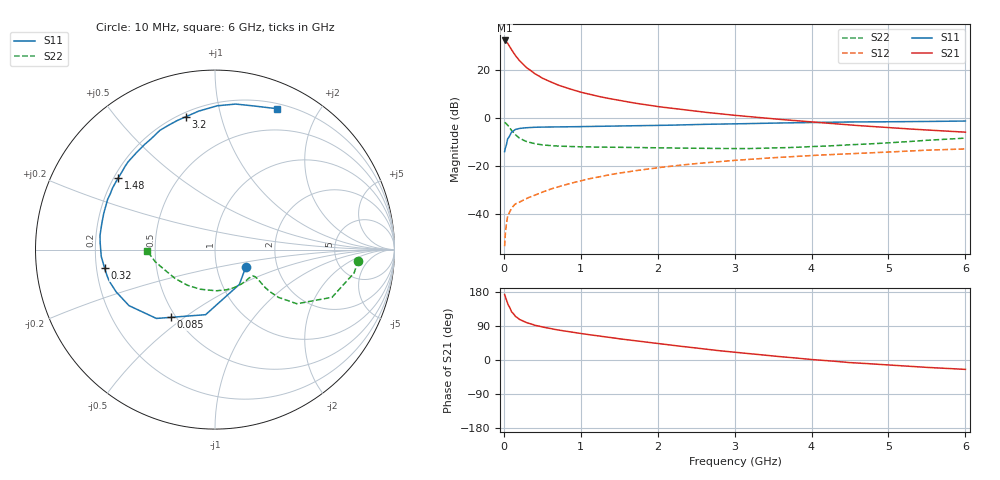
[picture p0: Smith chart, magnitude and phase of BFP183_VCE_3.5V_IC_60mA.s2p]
! (c) 2016  Infineon Technologies AG, Munich
! Infineon Technologies  Discrete & RF Semiconductors
! BFP183
! VCE = 3.5 V,  IC =  60 mA
! Common Emitter S-Parameters:  Jan 2016
# GHz  S  MA  R  50
!  f  S11  S21  S12  S22
! GHz  MAG  ANG  MAG  ANG  MAG  ANG  MAG  ANG
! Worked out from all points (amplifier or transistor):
!   210 points, 10 MHz to 6 GHz, reference 50 ohm
!   highest |S21| = 32.3 dB at 10 MHz (marker M1)
!   |S21| within 3 dB of that: start of sweep to 82.9 MHz
!   unconditionally stable (mu >= 1): start of sweep to 26.2 MHz; 241.1 MHz to end of sweep
!   at 185 MHz: K = 0.87, MSG = 30.0 dB, |S12| = -35.4 dB
!   at 1.52 GHz: K = 1.53, MAG = 10.8 dB, |S12| = -23.0 dB
!   at 6 GHz: K = 1.15, MAG = 1.2 dB, |S12| = -13.0 dB
!   S11 on the Smith chart (normalised r, x): 10 MHz: 1.38, -0.28; 85 MHz: 0.47, -0.45; 320 MHz: 0.23, -0.08; 1.48 GHz: 0.22, +0.31; 3.2 GHz: 0.22, +0.78; 6 GHz: 0.25, +1.50
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0.01  0.1975 -30.2  41.1 172.9  0.0021 65.4  0.8002 -4.4
0.02  0.2368 -55.0  40.41 166.3  0.0038 69.1  0.7861 -9.5
0.05  0.3663 -98.2  35.79 147.7  0.0088 65.5  0.704 -22.2
0.085  0.4494 -122.9  28.72 134.8  0.0117 54.4  0.591 -29.5
0.1  0.5037 -130.4  26.31 127.3  0.013 51.2  0.5463 -33.5
0.15  0.5719 -146.9  19.96 115.2  0.016 48.7  0.4442 -36.9
0.2  0.5991 -156.9  15.8 107.5  0.0173 49.1  0.3807 -37.6
0.26  0.6167 -164.7  12.59 101.5  0.0194 49.9  0.338 -36.7
0.3  0.622 -168.9  11 98.2  0.0209 51.9  0.3175 -35.8
0.32  0.6237 -170.4  10.47 97.2  0.0216 52.7  0.3116 -35.6
0.4  0.6348 -176.5  8.382 91.8  0.0242 55.5  0.2881 -34.5
0.5  0.6404 177.4  6.735 87.1  0.0281 56.9  0.2722 -34.1
0.6  0.6455 173.0  5.686 83.0  0.0322 59.0  0.2635 -34.3
0.8  0.6486 165.2  4.283 76.1  0.0401 61.2  0.254 -36.1
1.02  0.6562 157.3  3.368 69.4  0.0493 61.8  0.2478 -39.6
1.48  0.6705 143.6  2.337 56.6  0.0694 60.1  0.2427 -48.9
2.02  0.6955 128.7  1.702 42.9  0.0915 55.7  0.2375 -62.7
3.1  0.753 104.3  1.091 18.6  0.1328 45.3  0.2281 -96.7
3.2  0.7576 102.4  1.054 16.7  0.1363 44.3  0.2287 -100.2
4.1  0.8039 87.6  0.796 -0.2  0.1666 35.3  0.2541 -131.3
5.1  0.829 74.9  0.608 -14.3  0.1965 26.6  0.3071 -159.8
6  0.8571 66.4  0.502 -24.8  0.2243 17.2  0.3777 -178.8
